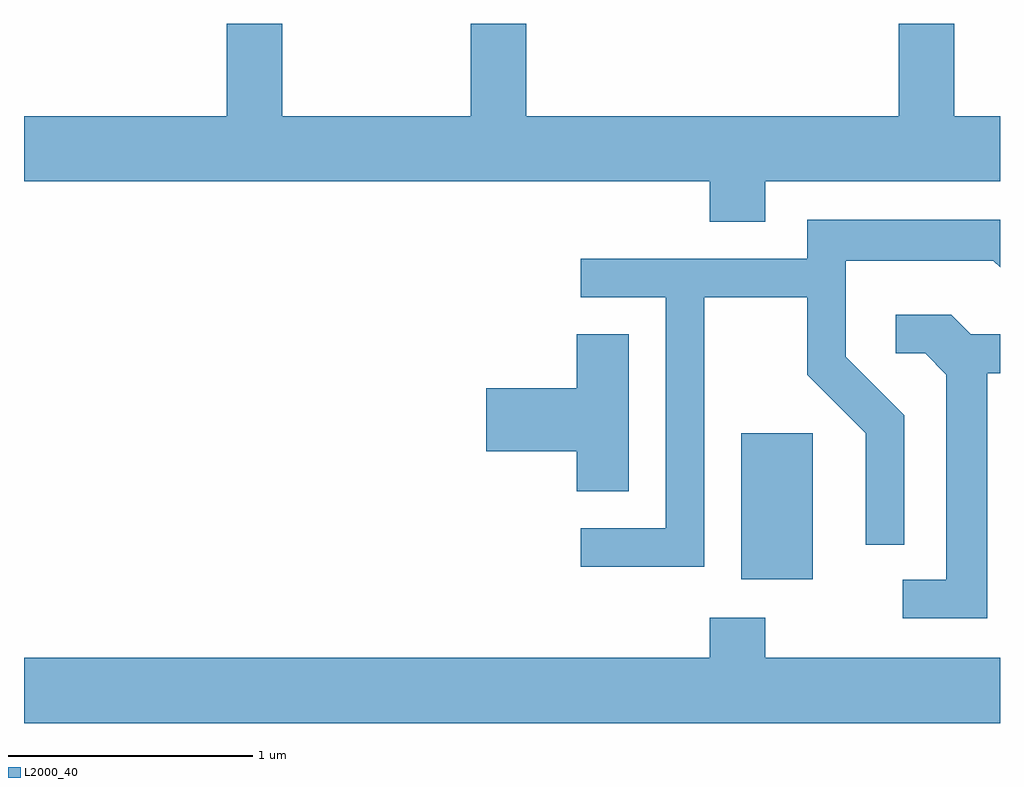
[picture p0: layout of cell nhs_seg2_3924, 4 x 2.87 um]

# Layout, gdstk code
import gdstk
lib = gdstk.Library(unit=1e-6, precision=1e-09)
def R(c, l, rs):  # rectangles x0, y0, x1, y1
    for r in rs: c.add(gdstk.rectangle(r[:2], r[2:], *l))
def P(c, l, *ps):  # polygons
    for p in ps: c.add(gdstk.Polygon(p, *l))
L2000_40 = (2000, 40)

nhs_seg2_3924 = lib.new_cell('nhs_seg2_3924')
R(nhs_seg2_3924, L2000_40, [(302.551,1095.526,302.844,1096.124)])
P(nhs_seg2_3924, L2000_40, [(302.649,1097.156),(303.611,1097.156),(303.611,1097.424),(303.424,1097.424),(303.424,1097.802),(303.196,1097.802),(303.196,1097.424),(301.669,1097.424),(301.669,1097.802),(301.441,1097.802),(301.441,1097.424),(300.669,1097.424),(300.669,1097.802),(300.441,1097.802),(300.441,1097.424),(299.611,1097.424),(299.611,1097.156),(302.421,1097.156),(302.421,1096.991),(302.649,1096.991)],
  [(302.399,1096.681),(302.821,1096.681),(302.821,1096.364),(303.061,1096.124),(303.061,1095.668),(303.219,1095.668),(303.219,1096.197),(302.979,1096.437),(302.979,1096.831),(303.584,1096.831),(303.611,1096.804),(303.611,1096.999),(302.821,1096.999),(302.821,1096.839),(301.893,1096.839),(301.893,1096.681),(302.241,1096.681),(302.241,1095.734),(301.893,1095.734),(301.893,1095.576),(302.399,1095.576)],
  [(303.559,1096.371),(303.611,1096.371),(303.611,1096.529),(303.492,1096.529),(303.412,1096.609),(303.183,1096.609),(303.183,1096.451),(303.304,1096.451),(303.391,1096.364),(303.391,1095.524),(303.213,1095.524),(303.213,1095.366),(303.559,1095.366)],
  [(302.089,1096.529),(301.876,1096.529),(301.876,1096.309),(301.506,1096.309),(301.506,1096.051),(301.876,1096.051),(301.876,1095.886),(302.089,1095.886)],
  [(303.611,1095.204),(302.649,1095.204),(302.649,1095.369),(302.421,1095.369),(302.421,1095.204),(299.611,1095.204),(299.611,1094.936),(303.611,1094.936)])

lib.write_gds('nhs_seg2_3924.gds')
